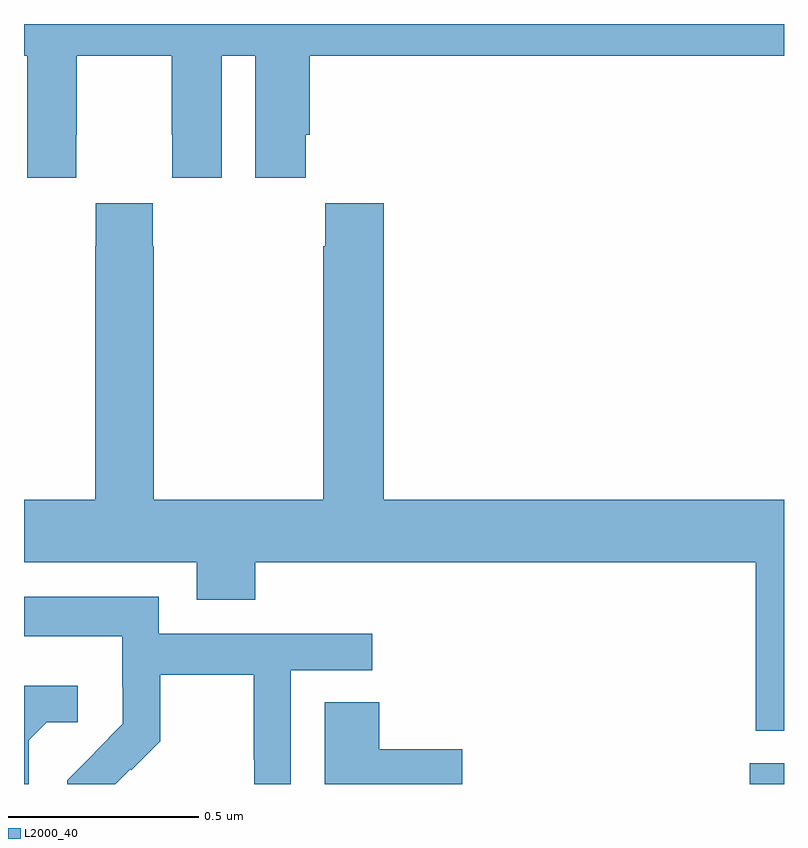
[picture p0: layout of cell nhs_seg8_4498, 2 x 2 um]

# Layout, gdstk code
import gdstk
lib = gdstk.Library(unit=1e-6, precision=1e-09)
def R(c, l, rs):  # rectangles x0, y0, x1, y1
    for r in rs: c.add(gdstk.rectangle(r[:2], r[2:], *l))
def P(c, l, *ps):  # polygons
    for p in ps: c.add(gdstk.Polygon(p, *l))
L2000_40 = (2000, 40)

nhs_seg8_4498 = lib.new_cell('nhs_seg8_4498')
R(nhs_seg8_4498, L2000_40, [(172.91,1131.9,173,1131.955)])
P(nhs_seg8_4498, L2000_40, [(171,1133.816),(171.008,1133.816),(171.008,1133.496),(171.138,1133.496),(171.138,1133.608),(171.139,1133.608),(171.139,1133.816),(171.389,1133.816),(171.389,1133.608),(171.39,1133.608),(171.39,1133.496),(171.52,1133.496),(171.52,1133.816),(171.608,1133.816),(171.608,1133.496),(171.742,1133.496),(171.742,1133.608),(171.752,1133.608),(171.752,1133.816),(173,1133.816),(173,1133.9),(171,1133.9)],
  [(173,1132.648),(171.947,1132.648),(171.947,1133.428),(171.793,1133.428),(171.793,1133.315),(171.787,1133.315),(171.787,1132.648),(171.342,1132.648),(171.342,1133.315),(171.339,1133.315),(171.339,1133.428),(171.189,1133.428),(171.189,1133.315),(171.187,1133.315),(171.187,1132.648),(171,1132.648),(171,1132.484),(171.455,1132.484),(171.455,1132.385),(171.608,1132.385),(171.608,1132.484),(172.926,1132.484),(172.926,1132.04),(173,1132.04)],
  [(171.279,1131.939),(171.282,1131.936),(171.359,1132.013),(171.359,1132.188),(171.604,1132.188),(171.604,1131.964),(171.606,1131.964),(171.606,1131.9),(171.702,1131.9),(171.702,1132.2),(171.916,1132.2),(171.916,1132.296),(171.354,1132.296),(171.354,1132.393),(171,1132.393),(171,1132.289),(171.258,1132.289),(171.258,1132.155),(171.26,1132.155),(171.26,1132.058),(171.186,1131.984),(171.187,1131.983),(171.114,1131.91),(171.114,1131.9),(171.24,1131.9)],
  [(171.013,1132.015),(171.06,1132.062),(171.142,1132.062),(171.142,1132.159),(171,1132.159),(171,1131.9),(171.013,1131.9)],
  [(172.153,1131.992),(171.935,1131.992),(171.935,1132.115),(171.791,1132.115),(171.791,1131.9),(172.153,1131.9)])

lib.write_gds('nhs_seg8_4498.gds')
